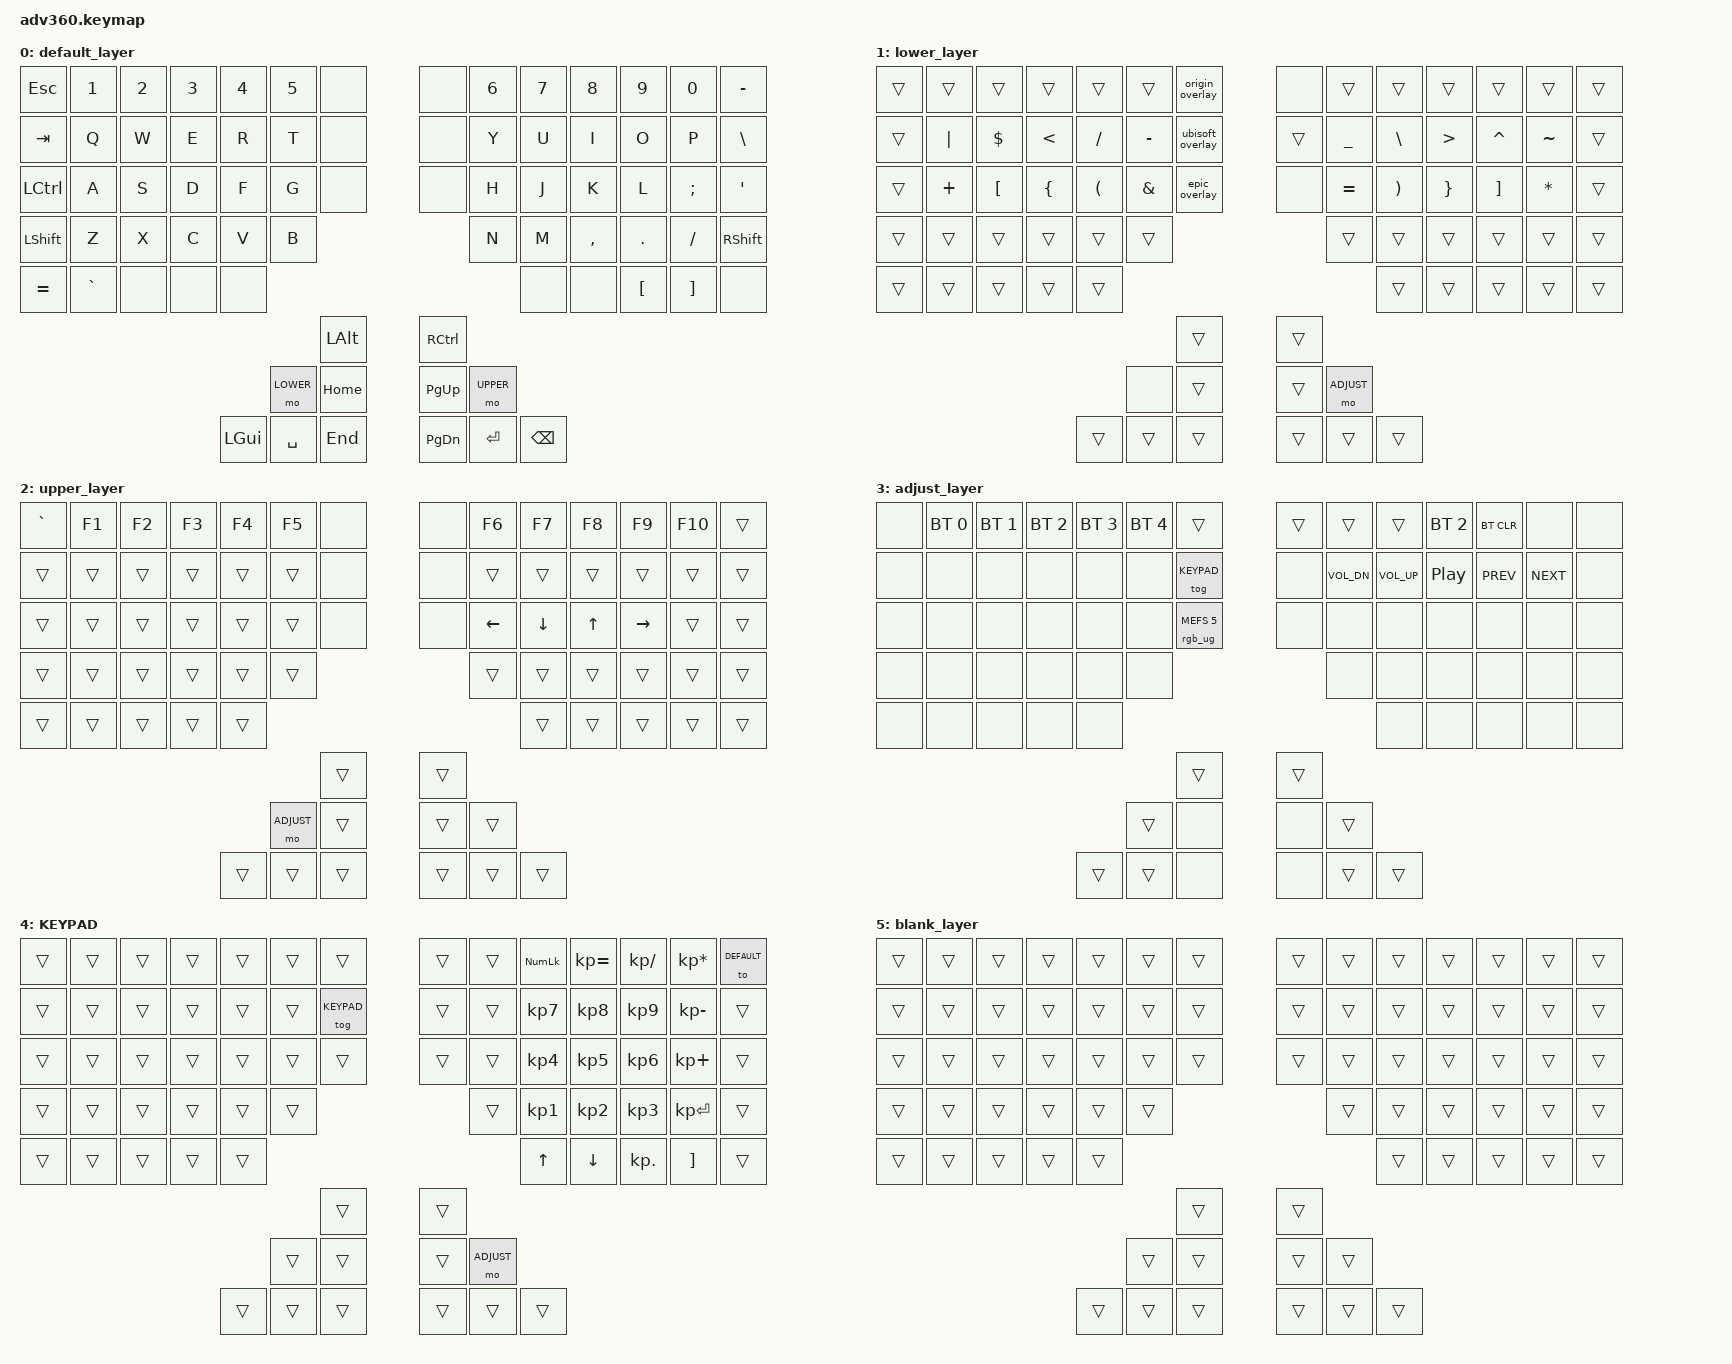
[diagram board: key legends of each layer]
#include <behaviors.dtsi>
#include <dt-bindings/zmk/keys.h>
#include <dt-bindings/zmk/bt.h>
#include <dt-bindings/zmk/rgb.h>
#include <dt-bindings/zmk/stp.h>
#include <dt-bindings/zmk/backlight.h>
#include <dt-bindings/zmk/pointing.h>

#define DEFAULT 0
#define LOWER 1
#define UPPER 2
#define ADJUST 3
#define KEYPAD 4
#define GAMES 5
#define GAMESUP 6
#define GAMESLOWER 7

/ {
    behaviors {
      #include "macros.dtsi"
      #include "version.dtsi"

      hm: homerow_mods {
          compatible = "zmk,behavior-hold-tap";
          label = "HOMEROW_MODS";
          #binding-cells = <2>;
          tapping-term-ms = <200>;
          quick_tap_ms = <175>;
          flavor = "tap-preferred";
          bindings = <&kp>, <&kp>;
      };
    };

  keymap {
    compatible = "zmk,keymap";

    default_layer {
// DEFAULT
// -----------------------------------------------------------------------           ---------------------------------------------------------------------
// |   +/=    |    1    |    2    |    3    |    4    |    5    |  None  |           | None |    6    |    7    |    8    |    9    |    0     |  -/_     |
// |   TAB    |    Q    |    W    |    E    |    R    |    T    |  None  |           | None |    Y    |    U    |    I    |    O    |    P     |  :/\     |
// |  LCTRL   |    A    |    S    |    D    |    F    |    G    |  None  |           | None |    H    |    J    |    K    |    L    |    ;     |  '/"     |
// |  LSHIFT  |    Z    |    X    |    C    |    V    |    B    |---------           -------|    N    |    M    |    ,    |    .    |    /     |  RSHIFT  |
// |   ESC    |    ~    |   :/\   |   LA    |   RA    |----------                           ----------|    UA   |   DA    |    [    |    ]     |          |
// ----------------------------------------------------                                                ----------------------------------------------------
//
//                                                                        Thumb Cluster
//                                                       -----------------           ------------------
//                                                       | LOWER | LALT  |           | LGUI  |  UPPER |
//                                               -------------------------           ---------------------------
//                                               |       |       | HOME  |           | PG UP |        |        |
//                                               | LGUI  | SPACE |--------           --------|  ENTER |  BSPC  |
//                                               |       |       | END   |           | PG DN |        |        |
//                                               -------------------------           ---------------------------
      bindings = <
        &kp ESC   &kp N1    &kp N2   &kp N3   &kp N4    &kp N5    &none                &none     &kp N6    &kp N7 &kp N8    &kp N9   &kp N0   &kp MINUS
        &kp TAB   &kp Q     &kp W    &kp E    &kp R     &kp T     &none                &none     &kp Y     &kp U  &kp I     &kp O    &kp P    &kp BSLH
        &kp LCTRL &kp A     &kp S    &kp D    &kp F     &kp G     &none                &none     &kp H     &kp J  &kp K     &kp L    &kp SEMI &kp SQT
        &kp LSHFT &kp Z     &kp X    &kp C    &kp V     &kp B                                    &kp N     &kp M  &kp COMMA &kp DOT  &kp FSLH &kp RSHFT
        &kp EQUAL &kp GRAVE &none    &none    &none                                                        &none  &none     &kp LBKT &kp RBKT &none
                                                                  &kp LALT             &kp RCTRL
                                                        &mo LOWER &kp HOME             &kp PG_UP &mo UPPER
                                              &kp LGUI  &kp SPACE &kp END              &kp PG_DN &kp ENTER &kp BSPC
      >;
    };
    lower_layer {
// LOWER
// -----------------------------------------------------------------------           -------------------------------------------------------------------------
// |          |         |         |         |         |         |        |           |         |         |         |         |         |          |          |
// |          |   "|"   |  DLLR   |    <    |    /    |    -    |        |           |         |    _    |    \    |    >    |    ^    |    ~     |          |
// |          |    +    |  "["    |   "{"   |   "("   |    &    |        |           |         |    =    |   ")"   |   "}"   |   "]"   |    *     |          |
// |          |         |         |         |         |         |---------           ----------|         |         |         |         |          |          |
// |          |         |         |         |         |----------                              ----------|         |         |         |          |          |
// ----------------------------------------------------                                                   ----------------------------------------------------
//
//                                                                        Thumb Cluster
//                                                       -----------------           ------------------
//                                                       |       |       |           |       | ADJUST |
//                                               -------------------------           ---------------------------
//                                               |       |       |       |           |       |        |        |
//                                               |       |       |--------           --------|        |        |
//                                               |       |       |       |           |       |        |        |
//                                               -------------------------           ---------------------------
      bindings = <
        &trans    &trans    &trans   &trans   &trans     &trans    &origin_overlay      &none  &trans    &trans    &trans       &trans       &trans      &trans
        &trans    &kp PIPE  &kp DLLR &kp LT   &kp SLASH  &kp MINUS &ubisoft_overlay     &trans &kp UNDER &kp BSLH  &kp GT       &kp CARET    &kp TILDE   &trans
        &trans    &kp PLUS  &kp LBKT &kp LBRC &kp LPAR   &kp AMPS  &epic_overlay        &none  &kp EQUAL &kp RPAR  &kp RBRC     &kp RBKT     &kp ASTRK   &trans
        &trans    &trans    &trans   &trans   &trans     &trans                                &trans    &trans    &trans       &trans       &trans      &trans
        &trans    &trans    &trans   &trans   &trans                                                     &trans    &trans       &trans       &trans      &trans
                                                                   &trans               &trans
                                                         &none     &trans               &trans &mo ADJUST
                                                &trans   &trans    &trans               &trans &trans    &trans
      >;
    };
    upper_layer {
// UPPER
// -----------------------------------------------------------------------           -------------------------------------------------------------------------
// |    ~     |   F1    |    F2   |   F3    |   F4    |   F5    |        |           |         |   F6    |   F7    |   F8    |   F9    |   F10    |          |
// |          |         |         |         |         |         |        |           |         |         |         |         |         |          |          |
// |          |         |         |         |         |         |        |           |         |  Left   |   Down  |   Up    |  Right  |          |          |
// |          |         |         |         |         |         |        |           |         |         |         |         |         |          |          |
// |          |         |         |         |         |         |---------           ----------|         |         |         |         |          |          |
// |          |         |         |         |         |----------                              ----------|         |         |         |          |          |
// ----------------------------------------------------                                                   ----------------------------------------------------
//
//                                                                        Thumb Cluster
//                                                       -----------------           ------------------
//                                                       | ADJUST|       |           |       |        |
//                                               -------------------------           ---------------------------
//                                               |       |       |       |           |       |        |        |
//                                               |       |       |--------           --------|        |        |
//                                               |       |       |       |           |       |        |        |
//                                               -------------------------           ---------------------------
      bindings = <
        &kp GRAVE &kp F1    &kp F2   &kp F3   &kp F4     &kp F5  &none                  &none     &kp F6   &kp F7     &kp F8       &kp F9       &kp F10         &trans
        &trans    &trans    &trans   &trans   &trans     &trans  &none                  &none     &trans   &trans     &trans       &trans       &trans          &trans
        &trans    &trans    &trans   &trans   &trans     &trans  &none                  &none     &kp LEFT &kp DOWN   &kp UP       &kp RIGHT    &trans          &trans
        &trans    &trans    &trans   &trans   &trans     &trans                                   &trans   &trans     &trans       &trans       &trans          &trans
        &trans    &trans    &trans   &trans   &trans                                                       &trans     &trans       &trans       &trans          &trans
                                                                 &trans                 &trans
                                                         &mo ADJUST &trans              &trans    &trans
                                                &trans   &trans  &trans                 &trans    &trans &trans
      >;
    };
    adjust_layer {
// ADJUST
// -----------------------------------------------------------------------           -------------------------------------------------------------------------
// |          |  BT0    |   BT1   |   BT2   |   BT3   |   BT4   |        |           |         |         |         |         | BT Clr  |  reset   | firmware |
// |          |         |         |         |         |         | KEYPAD |           |         | VOL_DN  |  VOL_UP |  Pause  | Prv TRK | Nxt TRK  |          |
// |          |         |         |         |         |         |        |           |         |         |         |         |         |          |          |
// |          |         |         |         |         |         |---------           ----------|         |         |         |         |          |          |
// |          |         |         |         |         |----------                              ----------|         |         |         |          |          |
// ----------------------------------------------------                                                   ----------------------------------------------------
//
//                                                                        Thumb Cluster
//                                                       -----------------           ------------------
//                                                       |       |       |           |       |        |
//                                               -------------------------           ---------------------------
//                                               |       |       |       |           |       |        |        |
//                                               |       |       |--------           --------|        |        |
//                                               |       |       |       |           |       |        |        |
//                                               -------------------------           ---------------------------
      bindings = <
        &none &bt BT_SEL 0 &bt BT_SEL 1 &bt BT_SEL 2 &bt BT_SEL 3 &bt BT_SEL 4 &trans                     &trans    &trans       &trans       &bt BT_SEL 2 &bt BT_CLR   &none        &none
        &none &none        &none        &none        &none        &none        &tog KEYPAD                &none     &kp C_VOL_DN &kp C_VOL_UP &kp C_PP     &kp C_PREV   &kp C_NEXT   &none
        &none &none        &none        &none        &none        &none        &rgb_ug RGB_MEFS_CMD 5     &none     &none        &none        &none        &none        &none        &none
        &none &none        &none        &none        &none        &none                                             &none        &none        &none        &none        &none        &none
        &none &none        &none        &none        &none                                                                       &none        &none        &none        &none        &none
                                                                               &trans                     &trans
                                                                  &trans       &none                      &none     &trans
                                                     &trans       &trans       &none                      &none     &trans       &trans
      >;
    };
    KEYPAD {
// KEYPAD
// -----------------------------------------------------------------------           -------------------------------------------------------------------------
// |          |         |         |         |         |         |        |           |         |         |   NUM    |   =     |    /     |    *     |        |
// |          |         |         |         |         |         | KEYPAD |           |         |         |    7     |   8     |    9     |    -     |        |
// |          |         |         |         |         |         |        |           |         |         |    4     |   5     |    6     |    +     |        |
// |          |         |         |         |         |         |---------           ----------|         |    1     |   2     |    3     |   ENT    |        |
// |          |         |         |         |         |----------                              ----------|    UP    |  DOWN   |    .     |          |        |
// ----------------------------------------------------                                                   ----------------------------------------------------
//
//                                                                        Thumb Cluster
//                                                       -----------------           ------------------
//                                                       |       |       |           |       | ADJUST |
//                                               -------------------------           ---------------------------
//                                               |       |       |       |           |       |        |        |
//                                               |       |       |--------           --------|        |        |
//                                               |       |       |       |           |       |        |        |
//                                               -------------------------           ---------------------------
      bindings = <
        &trans    &trans    &trans   &trans   &trans     &trans   &trans               &trans    &trans    &kp KP_NUM &kp KP_EQUAL &kp KP_DIVIDE &kp KP_MULTIPLY &to DEFAULT
        &trans    &trans    &trans   &trans   &trans     &trans   &tog KEYPAD          &trans    &trans    &kp KP_N7  &kp KP_N8    &kp KP_N9     &kp KP_MINUS    &trans
        &trans    &trans    &trans   &trans   &trans     &trans   &trans               &trans    &trans    &kp KP_N4  &kp KP_N5    &kp KP_N6     &kp KP_PLUS     &trans
        &trans    &trans    &trans   &trans   &trans     &trans                                  &trans    &kp KP_N1  &kp KP_N2    &kp KP_N3     &kp KP_ENTER    &trans
        &trans    &trans    &trans   &trans   &trans                                                       &kp UP     &kp DOWN     &kp KP_DOT    &kp RBKT        &trans
                                                                  &trans               &trans
                                                         &trans   &trans               &trans    &mo ADJUST
                                                &trans   &trans   &trans               &trans    &trans    &trans
      >;
    };
    blank_layer {
// BLANK
// -----------------------------------------------------------------------           -------------------------------------------------------------------------
// |          |         |         |         |         |         |        |           |         |         |         |         |         |          |          |
// |          |         |         |         |         |         |        |           |         |         |         |         |         |          |          |
// |          |         |         |         |         |         |        |           |         |         |         |         |         |          |          |
// |          |         |         |         |         |         |---------           ----------|         |         |         |         |          |          |
// |          |         |         |         |         |----------                              ----------|         |         |         |          |          |
// ----------------------------------------------------                                                   ----------------------------------------------------
//
//                                                                        Thumb Cluster
//                                                       -----------------           ------------------
//                                                       |       |       |           |       |        |
//                                               -------------------------           ---------------------------
//                                               |       |       |       |           |       |        |        |
//                                               |       |       |--------           --------|        |        |
//                                               |       |       |       |           |       |        |        |
//                                               -------------------------           ---------------------------
      bindings = <
        &trans    &trans    &trans   &trans   &trans     &trans &trans               &trans    &trans   &trans     &trans     &trans     &trans     &trans
        &trans    &trans    &trans   &trans   &trans     &trans &trans               &trans    &trans   &trans     &trans     &trans     &trans     &trans
        &trans    &trans    &trans   &trans   &trans     &trans &trans               &trans    &trans   &trans     &trans     &trans     &trans     &trans
        &trans    &trans    &trans   &trans   &trans     &trans                                &trans   &trans     &trans     &trans     &trans     &trans
        &trans    &trans    &trans   &trans   &trans                                                    &trans     &trans     &trans     &trans     &trans
                                                                &trans               &trans
                                                         &trans &trans               &trans    &trans
                                                &trans   &trans &trans               &trans    &trans   &trans
      >;
    };
    extra1 { 
      display-name = "Red";    
      status = "reserved";
    };

    extra2 { 
      display-name = "Purple";    
      status = "reserved";
    };

    extra3 { 
      display-name = "Cyan";    
      status = "reserved";
    };

    extra4 { 
      display-name = "Yellow";    
      status = "reserved";
    };
  };
};
